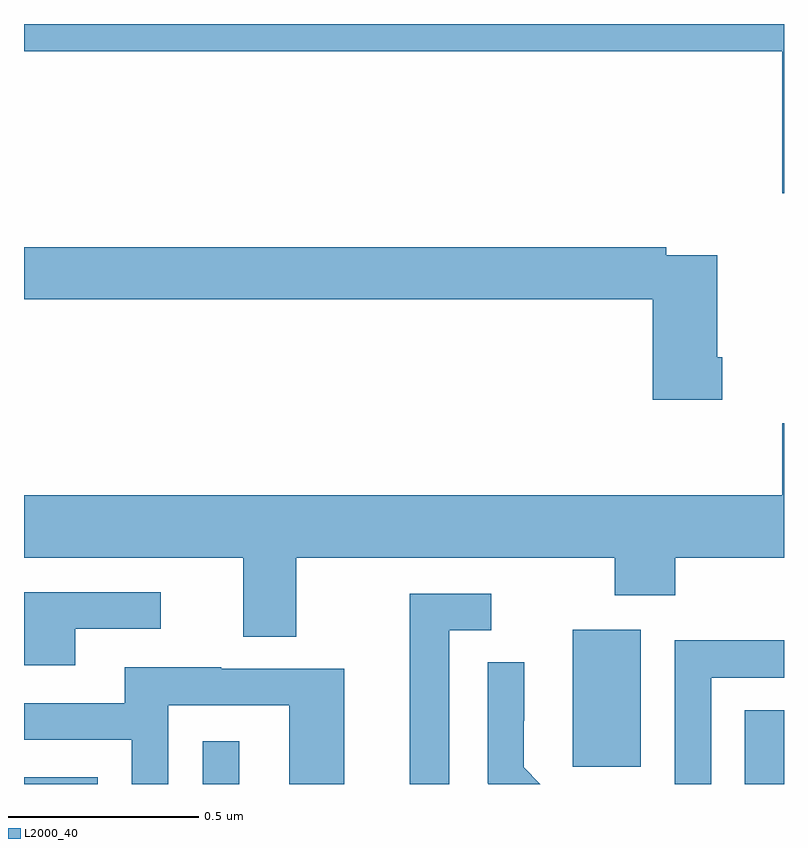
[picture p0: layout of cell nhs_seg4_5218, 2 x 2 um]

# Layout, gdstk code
import gdstk
lib = gdstk.Library(unit=1e-6, precision=1e-09)
def R(c, l, rs):  # rectangles x0, y0, x1, y1
    for r in rs: c.add(gdstk.rectangle(r[:2], r[2:], *l))
def P(c, l, *ps):  # polygons
    for p in ps: c.add(gdstk.Polygon(p, *l))
L2000_40 = (2000, 40)

nhs_seg4_5218 = lib.new_cell('nhs_seg4_5218')
R(nhs_seg4_5218, L2000_40, [(175,786.9,175.194,786.918), (175.47,786.9,175.567,787.012), (176.897,786.9,177,787.094), (176.444,786.945,176.623,787.306)])
P(nhs_seg4_5218, L2000_40, [(177,788.9),(175,788.9),(175,788.828),(176.996,788.828),(176.996,788.454),(177,788.454)],
  [(176.837,788.023),(176.824,788.023),(176.824,788.292),(176.69,788.292),(176.69,788.312),(175,788.312),(175,788.176),(176.654,788.176),(176.654,787.911),(176.837,787.911)],
  [(175.717,787.496),(176.554,787.496),(176.554,787.397),(176.714,787.397),(176.714,787.496),(177,787.496),(177,787.849),(176.996,787.849),(176.996,787.66),(175,787.66),(175,787.496),(175.577,787.496),(175.577,787.288),(175.717,787.288)],
  [(175.135,787.308),(175.36,787.308),(175.36,787.404),(175,787.404),(175,787.212),(175.135,787.212)],
  [(176.119,787.305),(176.23,787.305),(176.23,787.401),(176.015,787.401),(176.015,786.9),(176.119,786.9)],
  [(176.808,787.179),(177,787.179),(177,787.278),(176.712,787.278),(176.712,786.9),(176.808,786.9)],
  [(176.315,786.944),(176.315,787.066),(176.316,787.066),(176.316,787.22),(176.22,787.22),(176.22,786.902),(176.222,786.9),(176.358,786.9)],
  [(175.38,787.107),(175.698,787.107),(175.698,786.9),(175.843,786.9),(175.843,787.203),(175.519,787.203),(175.519,787.207),(175.265,787.207),(175.265,787.113),(175,787.113),(175,787.017),(175.284,787.017),(175.284,786.9),(175.38,786.9)])

lib.write_gds('nhs_seg4_5218.gds')
